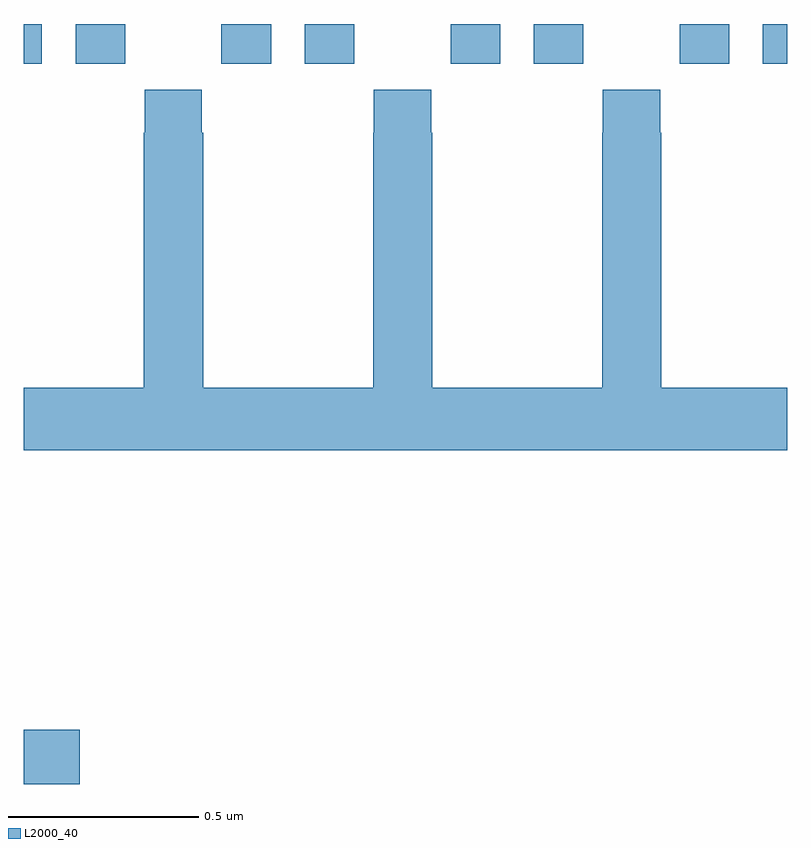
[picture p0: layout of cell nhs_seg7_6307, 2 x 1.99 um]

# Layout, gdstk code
import gdstk
lib = gdstk.Library(unit=1e-6, precision=1e-09)
def R(c, l, rs):  # rectangles x0, y0, x1, y1
    for r in rs: c.add(gdstk.rectangle(r[:2], r[2:], *l))
def P(c, l, *ps):  # polygons
    for p in ps: c.add(gdstk.Polygon(p, *l))
L2000_40 = (2000, 40)

nhs_seg7_6307 = lib.new_cell('nhs_seg7_6307')
R(nhs_seg7_6307, L2000_40, [(196,1065.01,196.147,1065.152), (196,1066.896,196.048,1067), (196.136,1066.896,196.266,1067), (196.518,1066.896,196.648,1067), (196.736,1066.896,196.866,1067), (197.118,1066.896,197.248,1067), (197.336,1066.896,197.466,1067), (197.718,1066.896,197.848,1067), (197.936,1066.896,198,1067)])
P(nhs_seg7_6307, L2000_40, [(198,1066.048),(197.67,1066.048),(197.67,1066.715),(197.667,1066.715),(197.667,1066.828),(197.517,1066.828),(197.517,1066.715),(197.515,1066.715),(197.515,1066.048),(197.07,1066.048),(197.07,1066.715),(197.067,1066.715),(197.067,1066.828),(196.917,1066.828),(196.917,1066.715),(196.915,1066.715),(196.915,1066.048),(196.47,1066.048),(196.47,1066.715),(196.467,1066.715),(196.467,1066.828),(196.317,1066.828),(196.317,1066.715),(196.315,1066.715),(196.315,1066.048),(196,1066.048),(196,1065.884),(198,1065.884)])

lib.write_gds('nhs_seg7_6307.gds')
